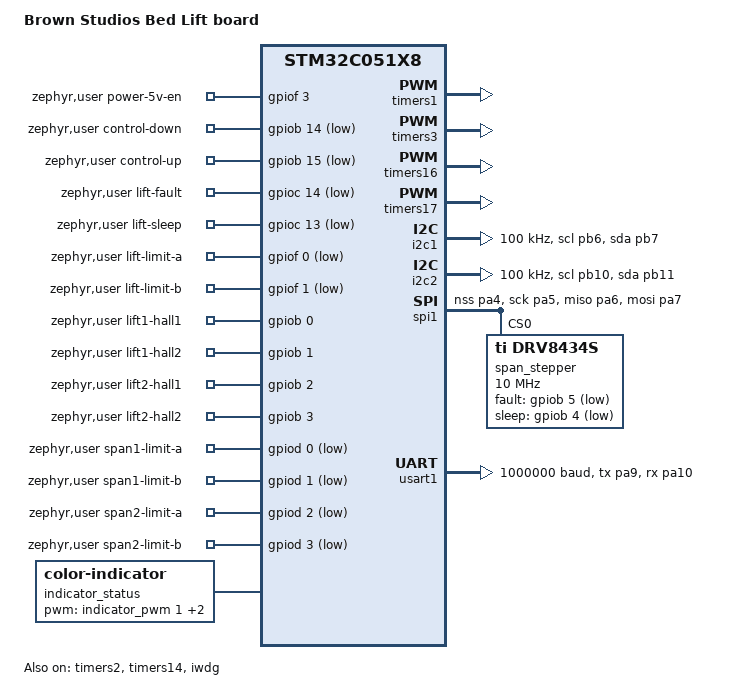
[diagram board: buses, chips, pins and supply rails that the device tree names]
/dts-v1/;
#include <st/c0/stm32c051X8.dtsi>
#include <st/c0/stm32c051c8tx-pinctrl.dtsi>

#define USE_SPI_DMA 0

/ {
	model = "Brown Studios Bed Lift board";
	compatible = "brownstudios,bedlift";

	chosen {
		zephyr,sram = &sram0;
		zephyr,flash = &flash0;
		zephyr,console = &usart1;
	};

	zephyr,user {
		power-5v-en-gpios = <&gpiof 3 GPIO_ACTIVE_HIGH>;

		control-down-gpios = <&gpiob 14 GPIO_ACTIVE_LOW>;
		control-up-gpios = <&gpiob 15 GPIO_ACTIVE_LOW>;

		lift-fault-gpios = <&gpioc 14 (GPIO_ACTIVE_LOW | GPIO_PULL_UP)>;
		lift-sleep-gpios = <&gpioc 13 GPIO_ACTIVE_LOW>;
		lift-limit-a-gpios = <&gpiof 0 GPIO_ACTIVE_LOW>;
		lift-limit-b-gpios = <&gpiof 1 GPIO_ACTIVE_LOW>;
		lift1-hall1-gpios = <&gpiob 0 GPIO_ACTIVE_HIGH>;
		lift1-hall2-gpios = <&gpiob 1 GPIO_ACTIVE_HIGH>;
		lift2-hall1-gpios = <&gpiob 2 GPIO_ACTIVE_HIGH>;
		lift2-hall2-gpios = <&gpiob 3 GPIO_ACTIVE_HIGH>;

		span1-limit-a-gpios = <&gpiod 0 GPIO_ACTIVE_LOW>;
		span1-limit-b-gpios = <&gpiod 1 GPIO_ACTIVE_LOW>;
		span2-limit-a-gpios = <&gpiod 2 GPIO_ACTIVE_LOW>;
		span2-limit-b-gpios = <&gpiod 3 GPIO_ACTIVE_LOW>;
	};

	pwm_set {
		compatible = "pwm-set";

		span_step: span_step { /* frequency varies at runtime */
			pwms = <&span_step_pwm 1 0 PWM_POLARITY_NORMAL>;
		};

		/* polarity inverted to facilitate use of slow decay mode */
		lift1_in1: lift1_in1 {
			pwms = <&lift_pwm 1 PWM_USEC(40) PWM_POLARITY_INVERTED>;
		};
		lift1_in2: lift1_in2 {
			pwms = <&lift_pwm 2 PWM_USEC(40) PWM_POLARITY_INVERTED>;
		};
		lift2_in1: lift2_in1 {
			pwms = <&lift_pwm 3 PWM_USEC(40) PWM_POLARITY_INVERTED>;
		};
		lift2_in2: lift2_in2 {
			pwms = <&lift_pwm 4 PWM_USEC(40) PWM_POLARITY_INVERTED>;
		};

		indicator_power: indicator_power {
			pwms = <&indicator_pwm 4 PWM_USEC(1000) PWM_POLARITY_INVERTED>;
		};

		sound: sound {
			pwms = <&sound_pwm 1 PWM_USEC(40) PWM_POLARITY_NORMAL>;
		};
	};

	indicator_status: indicator_status {
		compatible = "color-indicator";

		pwms = <&indicator_pwm 1 PWM_USEC(1000) PWM_POLARITY_NORMAL>,
			<&indicator_pwm 2 PWM_USEC(1000) PWM_POLARITY_NORMAL>,
			<&indicator_pwm 3 PWM_USEC(1000) PWM_POLARITY_NORMAL>;
	};
};

&clk_hsi {
	status = "okay";
};

&rcc {
	clocks = <&clk_hsi>;
	clock-frequency = <DT_FREQ_M(48)>;
	ahb-prescaler = <1>;  /* AHB clock at 48 MHz for the CPU core */
	apb1-prescaler = <2>; /* APB clock at 24 MHz for peripherals, TIM clock will be 2x APB so 48 MHz */
};

&exti {
	/* An interrupt decodes quadrature pulses from the lift hall sensors and must capture both edges
	 * of jitter pulses on the order of microseconds to track position.
	 * Set elevated priority for EXTI0-1 and EXTI2-3.  Leave EXTI4-15 at low priority.
	 */
	interrupts = <5 2>, <6 2>, <7 0>;
};

&timers1 {
	/* Divide the 48 MHz TIM clock by 1 (0+1) for timing 25000 Hz lift actuator PWM. */
	st,prescaler = <0>;
	status = "okay";

	lift_pwm: pwm {
		/* lift2_in1, lift1_in2, lift1_in1, lift2_in2, lift_fault */
		pinctrl-0 = <&tim1_ch1_pa0>, <&tim1_ch2_pa1>, <&tim1_ch3_pa2>, <&tim1_ch4_pa3>, <&tim1_bkin2_pc14>;
		pinctrl-names = "default";
		status = "okay";
	};
};

&timers3 {
	/* Divide the 48 MHz TIM clock by 2 (1+1) for timing 1000 Hz LED PWM. */
	st,prescaler = <1>;
	status = "okay";

	indicator_pwm: pwm {
		/* red, green, blue */
		pinctrl-0 = <&tim3_ch1_pc6>, <&tim3_ch2_pc7>, <&tim3_ch3_pc15>, <&tim3_ch4_pa8>;
		pinctrl-names = "default";
		status = "okay";
	};
};

&timers2 {
	/* Divide the 48 MHz TIM clock by 16 (15+1) for timing 100 Hz span loop ticks. */
	st,prescaler = <15>;
	status = "okay";

    span_loop_tick: counter {
		compatible = "st,stm32-counter";
		status = "okay";
	};
};

&timers14 {
	/* Divide the 48 MHz TIM clock by 16 (15+1) for timing 100 Hz lift loop ticks.
	 * We could perhaps share this responsibility with the other timer but we have the hardware
	 * resources available and it's simpler to keep the loops decoupled.
	 */
	st,prescaler = <15>;
	status = "okay";

    lift_loop_tick: counter {
		compatible = "st,stm32-counter";
		status = "okay";
	};
};

&timers16 {
	/* Divide the 48 MHz clock by 8 (7+1) for timing 100 to 25000 Hz span actuator step pulses. */
	st,prescaler = <7>;
	status = "okay";

	/* An interrupt counts every step to track actuator position at high speed.
	 * Requires elevated priority to avoid dropping steps.
	 */
	interrupts = <21 2>;

	span_step_pwm: pwm {
		pinctrl-0 = <&tim16_ch1_pb8>;
		pinctrl-names = "default";
		status = "okay";
	};
};

&timers17 {
	/* Divide the 48 MHz clock by 8 (7+1) for timing 100 to 25000 Hz audible feedback tones. */
	st,prescaler = <7>;
	status = "okay";

	sound_pwm: pwm {
		pinctrl-0 = <&tim17_ch1_pb9>;
		pinctrl-names = "default";
		status = "okay";
	};
};

&i2c1 {
	pinctrl-0 = <&i2c1_scl_pb6>, <&i2c1_sda_pb7>;
	pinctrl-names = "default";
	clock-frequency = <I2C_BITRATE_STANDARD>;
	status = "okay";
};

&i2c2 {
	pinctrl-0 = <&i2c2_scl_pb10>, <&i2c2_sda_pb11>;
	pinctrl-names = "default";
	clock-frequency = <I2C_BITRATE_STANDARD>;
	status = "okay";
};

&spi1 {
	pinctrl-0 = <&spi1_nss_pa4>, <&spi1_sck_pa5>, <&spi1_miso_pa6>, <&spi1_mosi_pa7>;
	pinctrl-names = "default";
	status = "okay";

#if USE_SPI_DMA
	dmas = <&dma1 3 17 (STM32_DMA_PERIPH_TX | STM32_DMA_PRIORITY_HIGH)>,
			<&dma1 2 16 (STM32_DMA_PERIPH_RX | STM32_DMA_PRIORITY_HIGH)>;
	dma-names = "tx", "rx";
#endif

	span_stepper: spi-device@0 {
		compatible = "ti,drv8434s";

		status = "okay";
		reg = <0>;
		spi-max-frequency = <10000000>; /* datasheet maximum: 10 MHz */
		spi-cs-setup-delay-ns = <50>;
		spi-cs-hold-delay-ns = <50>;

		num-devices = <4>;
		fault-gpios = <&gpiob 5 (GPIO_ACTIVE_LOW | GPIO_PULL_UP)>;
		sleep-gpios = <&gpiob 4 GPIO_ACTIVE_LOW>;

		/* Current limit setting
	     *   0: 100%,   2.50 A peak
		 *   1: 93.75%, 2.34 A peak
		 *   2: 87.5%,  2.19 A peak
		 *   3: 81.25%, 2.03 A peak
		 *   4: 75%,    1.88 A peak, 1.33 A rms
		 *   5: 68.75%, 1.72 A peak
		 *   6: 62.5%,  1.56 A peak
		 *   7: 56.25%, 1.41 A peak
		 *   8: 50%,    1.25 A peak
		 */
		trq-dac = <4>;
	};
};

&usart1 {
	pinctrl-0 = <&usart1_tx_pa9>, <&usart1_rx_pa10>;
	pinctrl-names = "default";
	current-speed = <1000000>;
	status = "okay";
};

&iwdg {
	status = "okay";
};

#if USE_SPI_DMA
&dma1 {
	status = "okay";
};
#endif
